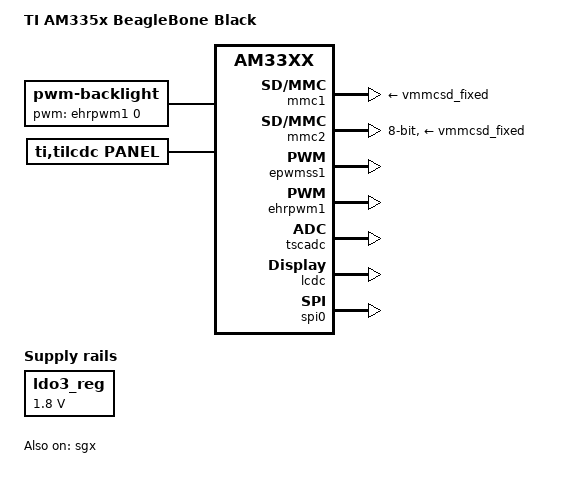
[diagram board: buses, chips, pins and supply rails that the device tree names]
/*
 * Copyright (C) 2012 Texas Instruments Incorporated - http://www.ti.com/
 *
 * This program is free software; you can redistribute it and/or modify
 * it under the terms of the GNU General Public License version 2 as
 * published by the Free Software Foundation.
 */
/dts-v1/;

#include "am33xx.dtsi"
#include "am335x-bone-common-no-capemgr.dtsi"
#include <dt-bindings/board/am335x-bbw-bbb-base.h>
#include <dt-bindings/gpio/gpio.h>

/ {
	model = "TI AM335x BeagleBone Black";
	compatible = "ti,am335x-bone-black", "ti,am335x-bone", "ti,am33xx";
};

&ldo3_reg {
	regulator-min-microvolt = <1800000>;
	regulator-max-microvolt = <1800000>;
	regulator-always-on;
};

&mmc1 {
	vmmc-supply = <&vmmcsd_fixed>;
};

&mmc2 {
	vmmc-supply = <&vmmcsd_fixed>;
	pinctrl-names = "default";
	pinctrl-0 = <&emmc_pins>;
	bus-width = <8>;
	status = "okay";
};

&sgx {
	status = "okay";
};

&am33xx_pinmux {
	bb_lcd_pwm_backlight_pins: pinmux_bb_lcd_pwm_backlight_pins {
		pinctrl-single,pins = <
			BONE_P9_14 (PIN_OUTPUT_PULLDOWN | MUX_MODE6) /* gpmc_a2.ehrpwm1a */
		>;
	};

	bb_lcd_lcd_pins: pinmux_bb_lcd_lcd_pins {
		pinctrl-single,pins = <
			BONE_P9_27 (PIN_OUTPUT_PULLUP | MUX_MODE7) /* mcasp0_fsr.gpio3_19 */

			BONE_P8_45 (PIN_OUTPUT | MUX_MODE0) /* lcd_data0.lcd_data0 */
			BONE_P8_46 (PIN_OUTPUT | MUX_MODE0) /* lcd_data1.lcd_data1 */
			BONE_P8_43 (PIN_OUTPUT | MUX_MODE0) /* lcd_data2.lcd_data2 */
			BONE_P8_44 (PIN_OUTPUT | MUX_MODE0) /* lcd_data3.lcd_data3 */
			BONE_P8_41 (PIN_OUTPUT | MUX_MODE0) /* lcd_data4.lcd_data4 */
			BONE_P8_42 (PIN_OUTPUT | MUX_MODE0) /* lcd_data5.lcd_data5 */
			BONE_P8_39 (PIN_OUTPUT | MUX_MODE0) /* lcd_data6.lcd_data6 */
			BONE_P8_40 (PIN_OUTPUT | MUX_MODE0) /* lcd_data7.lcd_data7 */
			BONE_P8_37 (PIN_OUTPUT | MUX_MODE0) /* lcd_data8.lcd_data8 */
			BONE_P8_38 (PIN_OUTPUT | MUX_MODE0) /* lcd_data9.lcd_data9 */
			BONE_P8_36 (PIN_OUTPUT | MUX_MODE0) /* lcd_data10.lcd_data10 */
			BONE_P8_34 (PIN_OUTPUT | MUX_MODE0) /* lcd_data11.lcd_data11 */
			BONE_P8_35 (PIN_OUTPUT | MUX_MODE0) /* lcd_data12.lcd_data12 */
			BONE_P8_33 (PIN_OUTPUT | MUX_MODE0) /* lcd_data13.lcd_data13 */
			BONE_P8_31 (PIN_OUTPUT | MUX_MODE0) /* lcd_data14.lcd_data14 */
			BONE_P8_32 (PIN_OUTPUT | MUX_MODE0) /* lcd_data15.lcd_data15 */

			BONE_P8_27 (PIN_OUTPUT | MUX_MODE0) /* lcd_vsync.lcd_vsync */
			BONE_P8_29 (PIN_OUTPUT | MUX_MODE0) /* lcd_hsync.lcd_hsync */
			BONE_P8_28 (PIN_OUTPUT | MUX_MODE0) /* lcd_pclk.lcd_pclk */
			BONE_P8_30 (PIN_OUTPUT | MUX_MODE0) /* lcd_ac_bias_en.lcd_ac_bias_en */
		>;
	};

	bb_spi0_pins: pinmux_bb_spi0_pins {
		pinctrl-single,pins = <
			0x150 0x30	/* spi0_sclk.spi0_sclk, INPUT_PULLUP | MODE0 */
			0x154 0x30	/* spi0_d0.spi0_d0, INPUT_PULLUP | MODE0 */
			0x158 0x10	/* spi0_d1.spi0_d1, OUTPUT_PULLUP | MODE0 */
			0x15c 0x10	/* spi0_cs0.spi0_cs0, OUTPUT_PULLUP | MODE0 */
		>;
	};
};

&epwmss1 {
	status = "okay";
};

&ehrpwm1 {
	pinctrl-names = "default";
	pinctrl-0 = <&bb_lcd_pwm_backlight_pins>;
	status = "okay";
};

&tscadc {
	status = "okay";
	tsc {
		ti,wires = <4>;
		ti,x-plate-resistance = <200>;
		ti,coordinate-readouts = <5>;
		ti,wire-config = <0x00 0x11 0x22 0x33>;
	};

	adc {
		ti,adc-channels = <4 5 6 7>;
	};
};

&lcdc {
	status = "okay";
};

&spi0 {
	pinctrl-names = "default";
	pinctrl-0 = <&bb_spi0_pins>;
	status = "okay";

	channel@0 {
		compatible = "spidev";
		spi-max-frequency = <16000000>;
		reg = <0>;
		spi-cpha;
	};

	channel@1 {
		compatible = "spidev";
		spi-max-frequency = <16000000>;
		reg = <1>;
	};
};

/ {
	/* avoid stupid warning */
	#address-cells = <1>;
	#size-cells = <1>;

	backlight {
		status = "okay";
		compatible = "pwm-backlight";
		pwms = <&ehrpwm1 0 50000 0>;
		brightness-levels = <0 51 53 56 62 75 101 152 255>;
		default-brightness-level = <8>;
	};

	panel {
		status = "okay";
		compatible = "ti,tilcdc,panel";
		pinctrl-names = "default";
		pinctrl-0 = <&bb_lcd_lcd_pins>;
		panel-info {
			ac-bias           = <255>;
			ac-bias-intrpt    = <0>;
			dma-burst-sz      = <16>;
			bpp               = <16>;
			fdd               = <0x80>;
			sync-edge         = <0>;
			sync-ctrl         = <1>;
			raster-order      = <0>;
			fifo-th           = <0>;
		};
		display-timings {
			native-mode = <&timing0>;
			/* Settings for ThreeFive S9700RTWV35TR / LCD7 cape: */
			timing0: 800x480 {
				clock-frequency = <30000000>;
				hactive = <800>;
				vactive = <480>;
				hfront-porch = <40>;
				hback-porch = <40>;
				hsync-len = <48>;
				vback-porch = <30>;
				vfront-porch = <13>;
				vsync-len = <3>;
				hsync-active = <0>;
				vsync-active = <0>;
				de-active = <1>;
				pixelclk-active = <0>;
			};
		};
	};
};
